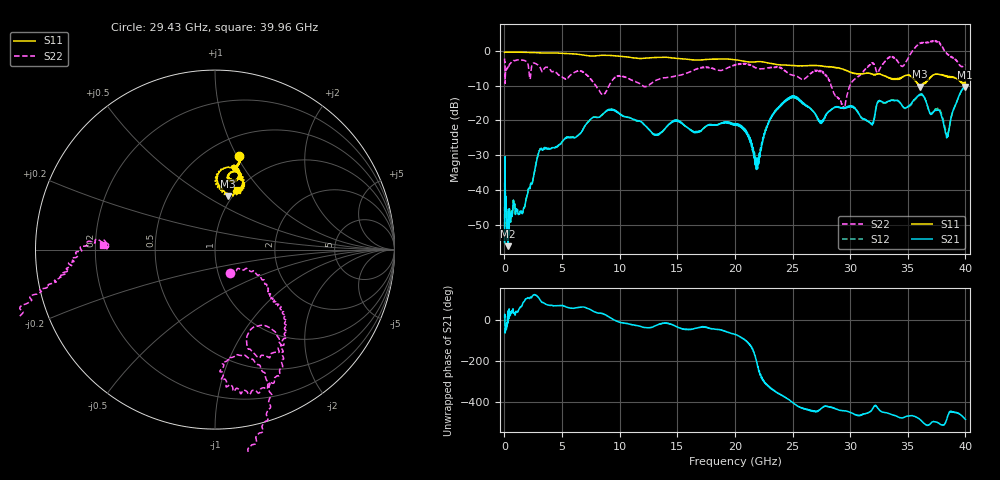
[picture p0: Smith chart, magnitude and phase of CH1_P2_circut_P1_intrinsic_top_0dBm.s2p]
!Keysight Technologies,N5222B,MY61257109,A.17.25.03
!Date: Tuesday, July 21, 2026 12:19:00
!Correction: S11(C  2-Port  )
!S21(C  2-Port  )
!S12(C  2-Port  )
!S22(C  2-Port  )
!S2P File: Measurements: S11, S21, S12, S22:
# Hz S  dB  R 50
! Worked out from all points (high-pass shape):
!   4000 points, 10 MHz to 40 GHz, reference 50 ohm
!   highest |S21| = -10.33 dB at 39.98 GHz (marker M1); lowest = -56.2 dB at 310 MHz (marker M2)
!   |S21| within 3 dB of the highest: 35.78 GHz to 36.41 GHz (631.2 MHz wide, 1.75 % of centre); 39.4 GHz to end of sweep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
!   lowest |S11| = -10.2 dB at 36.06 GHz (marker M3), VSWR 1.89, Z = 47.7 + j31.6 ohm
!   |S11| at or under -10 dB: 35.95406 GHz to 35.98219 GHz (28.14 MHz wide, 0.0782 % of centre); 36.0322 GHz to 36.09718 GHz (64.98 MHz wide, 0.18 % of centre); 36.14118 GHz to 36.18621 GHz (45.03 MHz wide, 0.125 % of centre)
!   |S22| runs from -16.6 to 3.0 dB; largest |S21 - S12| = 0.012
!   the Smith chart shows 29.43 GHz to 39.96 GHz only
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1e7  -0.40 -179.5  -54.94 13.8  -55.39 12.4  -2.18 -46.8
3.1e8  -0.34 178.6  -56.16 26.0  -55.92 22.3  -4.68 -177.0
1.76e9  -0.39 172.0  -44.68 94.1  -44.70 94.0  -2.77 99.9
3.09e9  -0.56 166.2  -28.25 96.0  -28.15 96.6  -4.74 57.6
6.68e9  -1.08 150.3  -23.35 60.8  -23.27 61.0  -5.86 9.0
9.23e9  -1.30 142.9  -16.98 7.5  -16.95 7.4  -9.09 23.0
1.334e10  -1.85 131.7  -23.93 -24.5  -23.94 -24.5  -8.21 2.3
2.001e10  -2.52 107.1  -20.91 -71.9  -21.26 -71.7  -4.07 -34.4
2.191e10  -3.08 102.4  -31.18 151.2  -33.45 147.3  -5.00 -56.1
2.417e10  -4.03 95.1  -15.13 -11.3  -15.08 -11.4  -5.33 -74.3
2.667e10  -4.14 89.6  -16.97 -81.6  -16.97 -80.9  -6.31 -68.0
2.942e10  -5.32 75.9  -16.47 -82.7  -16.48 -83.0  -16.06 -59.2
3.183e10  -6.54 74.8  -21.05 -83.0  -20.87 -81.3  -3.77 -56.4
3.334e10  -7.62 72.4  -14.39 -95.2  -14.47 -94.6  -1.89 -65.7
3.471e10  -7.17 78.3  -16.38 -114.0  -16.44 -115.1  -3.87 -72.1
3.541e10  -7.58 68.0  -14.55 -106.6  -14.90 -106.5  0.00 -74.0
3.606e10  -10.23 76.2  -12.53 -124.8  -12.73 -123.1  2.16 -94.2
3.71e10  -7.23 87.0  -18.12 -137.4  -17.87 -135.3  2.69 -125.6
3.768e10  -6.75 77.1  -17.02 -142.1  -16.62 -140.8  2.43 -149.2
3.843e10  -7.33 70.2  -24.23 -115.2  -24.38 -118.5  -0.82 -168.9
3.998e10  -9.00 72.4  -10.33 -122.7  -10.49 -123.2  -4.01 177.5
4e10  -9.24 73.8  -10.40 -124.0  -10.39 -124.1  -3.95 177.4
